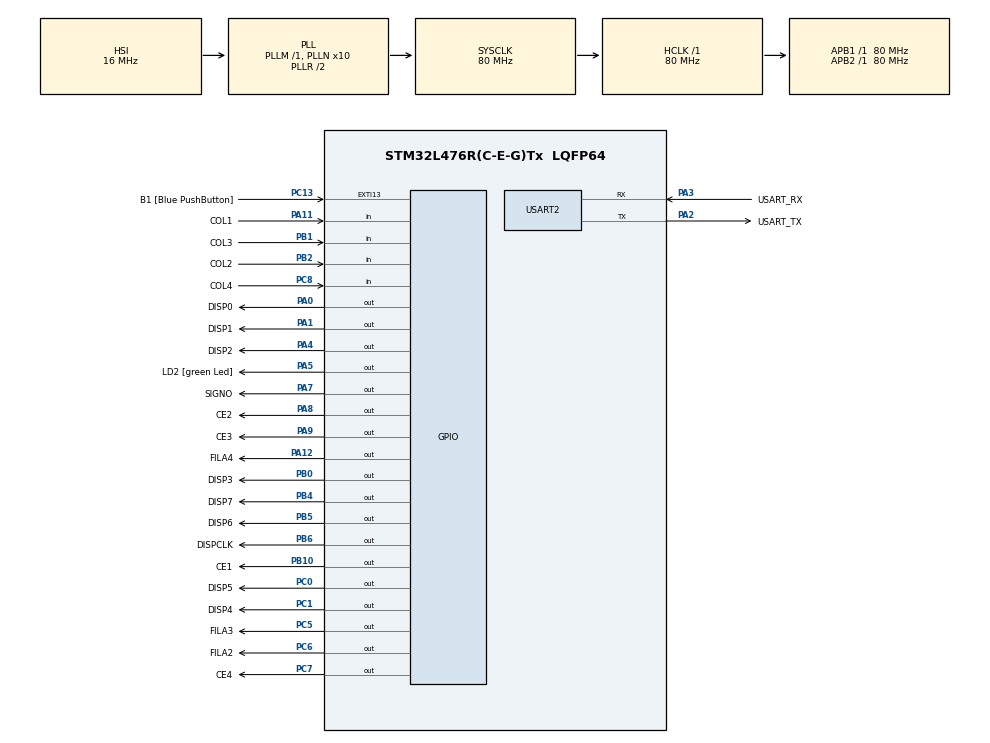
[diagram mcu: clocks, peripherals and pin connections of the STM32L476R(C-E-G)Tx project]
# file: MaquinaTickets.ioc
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Mcu.Family=STM32L4
Mcu.Name=STM32L476R(C-E-G)Tx
Mcu.Package=LQFP64
NVIC.PriorityGroup=NVIC_PRIORITYGROUP_4
PA0.GPIO_Label=DISP0
PA0.Signal=GPIO_Output
PA1.GPIO_Label=DISP1
PA1.Signal=GPIO_Output
PA11.GPIO_Label=COL1
PA11.Signal=GPIO_Input
PA12.GPIO_Label=FILA4
PA12.Signal=GPIO_Output
PA13\ (JTMS-SWDIO).GPIO_Label=TMS
PA13\ (JTMS-SWDIO).Mode=Serial_Wire
PA13\ (JTMS-SWDIO).Signal=SYS_JTMS-SWDIO
PA14\ (JTCK-SWCLK).GPIO_Label=TCK
PA14\ (JTCK-SWCLK).Mode=Serial_Wire
PA14\ (JTCK-SWCLK).Signal=SYS_JTCK-SWCLK
PA2.GPIO_Label=USART_TX
PA2.GPIO_Mode=GPIO_MODE_AF_PP
PA2.GPIO_PuPd=GPIO_NOPULL
PA2.GPIO_Speed=GPIO_SPEED_FREQ_VERY_HIGH
PA2.Mode=Asynchronous
PA2.Signal=USART2_TX
PA3.GPIO_Label=USART_RX
PA3.GPIO_Mode=GPIO_MODE_AF_PP
PA3.GPIO_PuPd=GPIO_NOPULL
PA3.GPIO_Speed=GPIO_SPEED_FREQ_VERY_HIGH
PA3.Mode=Asynchronous
PA3.Signal=USART2_RX
PA4.GPIO_Label=DISP2
PA4.Signal=GPIO_Output
PA5.GPIO_Label=LD2 [green Led]
PA5.GPIO_ModeDefaultOutputPP=GPIO_MODE_OUTPUT_PP
PA5.GPIO_PuPd=GPIO_NOPULL
PA5.GPIO_Speed=GPIO_SPEED_FREQ_LOW
PA5.Signal=GPIO_Output
PA7.GPIO_Label=SIGNO
PA7.Signal=GPIO_Output
PA8.GPIO_Label=CE2
PA8.Signal=GPIO_Output
PA9.GPIO_Label=CE3
PA9.Signal=GPIO_Output
PB0.GPIO_Label=DISP3
PB0.Signal=GPIO_Output
PB1.GPIO_Label=COL3
PB1.Signal=GPIO_Input
PB10.GPIO_Label=CE1
PB10.Signal=GPIO_Output
PB2.GPIO_Label=COL2
PB2.Signal=GPIO_Input
PB3\ (JTDO-TRACESWO).GPIO_Label=SWO
PB3\ (JTDO-TRACESWO).Signal=SYS_JTDO-SWO
PB4\ (NJTRST).GPIO_Label=DISP7
PB4\ (NJTRST).Signal=GPIO_Output
PB5.GPIO_Label=DISP6
PB5.Signal=GPIO_Output
PB6.GPIO_Label=DISPCLK
PB6.Signal=GPIO_Output
PC0.GPIO_Label=DISP5
PC0.Signal=GPIO_Output
PC1.GPIO_Label=DISP4
PC1.Signal=GPIO_Output
PC13.GPIO_Label=B1 [Blue PushButton]
PC13.GPIO_ModeDefaultEXTI=GPIO_MODE_IT_FALLING
PC13.GPIO_PuPd=GPIO_NOPULL
PC13.Signal=GPXTI13
PC14-OSC32_IN\ (PC14).Mode=LSE-External-Oscillator
PC14-OSC32_IN\ (PC14).Signal=RCC_OSC32_IN
PC15-OSC32_OUT\ (PC15).Mode=LSE-External-Oscillator
PC15-OSC32_OUT\ (PC15).Signal=RCC_OSC32_OUT
PC5.GPIO_Label=FILA3
PC5.Signal=GPIO_Output
PC6.GPIO_Label=FILA2
PC6.Signal=GPIO_Output
PC7.GPIO_Label=CE4
PC7.Signal=GPIO_Output
PC8.GPIO_Label=COL4
PC8.Signal=GPIO_Input
PH0-OSC_IN\ (PH0).Signal=RCC_OSC_IN
PH1-OSC_OUT\ (PH1).Signal=RCC_OSC_OUT
ProjectManager.HeapSize=0x200
ProjectManager.StackSize=0x400
ProjectManager.TargetToolchain=STM32CubeIDE
RCC.ADCFreq_Value=64000000
RCC.AHBFreq_Value=80000000
RCC.APB1Freq_Value=80000000
RCC.APB1TimFreq_Value=80000000
RCC.APB2Freq_Value=80000000
RCC.APB2TimFreq_Value=80000000
RCC.CortexFreq_Value=80000000
RCC.HCLKFreq_Value=80000000
RCC.HSE_VALUE=8000000
RCC.HSI_VALUE=16000000
RCC.MSI_VALUE=4000000
RCC.PLLN=10
RCC.PLLSourceVirtual=RCC_PLLSOURCE_HSI
RCC.PREFETCH_ENABLE=1
RCC.SYSCLKFreq_VALUE=80000000
RCC.SYSCLKSource=RCC_SYSCLKSOURCE_PLLCLK
RCC.USBFreq_Value=64000000
RCC.VCOOutputFreq_Value=160000000
USART2.VirtualMode-Asynchronous=VM_ASYNC
board=NUCLEO-L476RG

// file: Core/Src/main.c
/* USER CODE BEGIN Header */
/**
  ******************************************************************************
  * @file           : main.c
  * @brief          : Main program body
  ******************************************************************************
  * @attention
  *
  * Copyright (c) 2023 STMicroelectronics.
  * All rights reserved.
  *
  * This software is licensed under terms that can be found in the LICENSE file
  * in the root directory of this software component.
  * If no LICENSE file comes with this software, it is provided AS-IS.
  *
  ******************************************************************************
  */
/* USER CODE END Header */
#include "main.h"

/* USER CODE BEGIN PD */
#define NUM_FILAS 		4
#define NUM_COLUMNAS 	3
/* USER CODE END PD */

UART_HandleTypeDef huart2;

void SystemClock_Config(void);
static void MX_GPIO_Init(void);
static void MX_USART2_UART_Init(void);
/* USER CODE BEGIN PFP */
static void BCD_inicializarCEx (void);
static void BCD_apagarDisplay (void);
static void BCD_encenderDisplay (int);
static void BCD_enviarDigito (int, int, int, int);
static void BCD_enviarLetra (char, int);

static char Matrix_leerTecla(void);
static void Matrix_inicializarFilas(void);

static int char_to_int(char);
/* USER CODE END PFP */

/* USER CODE BEGIN 0 */

static void Matrix_inicializarFilas (void)
{
	HAL_GPIO_WritePin(FILA2_GPIO_Port, FILA2_Pin, GPIO_PIN_RESET);
	HAL_GPIO_WritePin(FILA3_GPIO_Port, FILA3_Pin, GPIO_PIN_RESET);
	HAL_GPIO_WritePin(FILA4_GPIO_Port, FILA4_Pin, GPIO_PIN_RESET);
}

static int char_to_int (char tecla) {
	return ((int)tecla - (int)'0');
}

static char Matrix_leerTecla (void)
{
	/*
	 * Sistema de sondeo (polling) en el que vamos instroduciendo 1 lógico por fila
	 * y leyendo al mismo tiempo cada columna. Según la combinación de fila y columna
	 * se ha pulsado la tecla correspondiente.
	 */

	/* Comenzamos inicializando las columnas a 0 por si guardan algún valor */
	for (int fila = 4; fila > 1; fila--) {
		/* Activamos 1 fila en cada bucle */
		HAL_GPIO_WritePin(FILA4_GPIO_Port, FILA4_Pin, (fila == 4));

		HAL_GPIO_WritePin(FILA3_GPIO_Port, FILA3_Pin, (fila == 3));

		HAL_GPIO_WritePin(FILA2_GPIO_Port, FILA2_Pin, (fila == 2));

		/* Leemos columnas */
		if (fila == 4 && HAL_GPIO_ReadPin(COL1_GPIO_Port, COL1_Pin)) {
			Matrix_inicializarFilas();
			return 'A';
		} else if (fila == 4 && HAL_GPIO_ReadPin(COL2_GPIO_Port, COL2_Pin)) {
			Matrix_inicializarFilas();
			return '7';
		} else if (fila == 4 && HAL_GPIO_ReadPin(COL3_GPIO_Port, COL3_Pin)) {
			Matrix_inicializarFilas();
			return '4';
		} else if (fila == 4 && HAL_GPIO_ReadPin(COL4_GPIO_Port, COL4_Pin)) {
			Matrix_inicializarFilas();
			return '1';
		}

		if (fila == 3 && HAL_GPIO_ReadPin(COL1_GPIO_Port, COL1_Pin)) {
			Matrix_inicializarFilas();
			return '0';
		} else if (fila == 3 && HAL_GPIO_ReadPin(COL2_GPIO_Port, COL2_Pin)) {
			Matrix_inicializarFilas();
			return '8';
		} else if (fila == 3 && HAL_GPIO_ReadPin(COL3_GPIO_Port, COL3_Pin)) {
			Matrix_inicializarFilas();
			return '5';
		} else if (fila == 3 && HAL_GPIO_ReadPin(COL4_GPIO_Port, COL4_Pin)) {
			Matrix_inicializarFilas();
			return '2';
		}

		if (fila == 2 && HAL_GPIO_ReadPin(COL1_GPIO_Port, COL1_Pin)) {
			Matrix_inicializarFilas();
			return 'B';
		} else if (fila == 2 && HAL_GPIO_ReadPin(COL2_GPIO_Port, COL2_Pin)) {
			Matrix_inicializarFilas();
			return '9';
		} else if (fila == 2 && HAL_GPIO_ReadPin(COL3_GPIO_Port, COL3_Pin)) {
			Matrix_inicializarFilas();
			return '6';
		} else if (fila == 2 && HAL_GPIO_ReadPin(COL4_GPIO_Port, COL4_Pin)) {
			Matrix_inicializarFilas();
			return '3';
		}

		/* Volvemos a la fila inicial */
		if (fila == 2) {
			fila = 5;
		}
	}

	return 0;

}

static void BCD_inicializarCEx (void)
{
	HAL_GPIO_WritePin(CE1_GPIO_Port, CE1_Pin, GPIO_PIN_SET);
	HAL_GPIO_WritePin(CE2_GPIO_Port, CE2_Pin, GPIO_PIN_SET);
	HAL_GPIO_WritePin(CE3_GPIO_Port, CE3_Pin, GPIO_PIN_SET);
	HAL_GPIO_WritePin(CE4_GPIO_Port, CE4_Pin, GPIO_PIN_SET);

//	HAL_GPIO_WritePin(DISPCLK_GPIO_Port, DISPCLK_Pin, GPIO_PIN_RESET);
//	HAL_Delay(50);
//	HAL_GPIO_WritePin(DISPCLK_GPIO_Port, DISPCLK_Pin, GPIO_PIN_SET);
//	HAL_Delay(50);
}

/*
 * TURN OFF DISPLAY X FUNCTION
 * display: display a apagar
 */

static void BCD_apagarDisplay (void)
{
	HAL_GPIO_WritePin(DISP0_GPIO_Port, DISP0_Pin, GPIO_PIN_RESET);
	HAL_GPIO_WritePin(DISP1_GPIO_Port, DISP1_Pin, GPIO_PIN_RESET);
	HAL_GPIO_WritePin(DISP2_GPIO_Port, DISP2_Pin, GPIO_PIN_RESET);
	HAL_GPIO_WritePin(DISP3_GPIO_Port, DISP3_Pin, GPIO_PIN_RESET);
	HAL_GPIO_WritePin(DISP4_GPIO_Port, DISP4_Pin, GPIO_PIN_RESET);
	HAL_GPIO_WritePin(DISP5_GPIO_Port, DISP5_Pin, GPIO_PIN_RESET);
	HAL_GPIO_WritePin(DISP6_GPIO_Port, DISP6_Pin, GPIO_PIN_RESET);
	HAL_GPIO_WritePin(DISP7_GPIO_Port, DISP7_Pin, GPIO_PIN_RESET);
	HAL_GPIO_WritePin(SIGNO_GPIO_Port, SIGNO_Pin, GPIO_PIN_RESET);

	/* Habilitamos todos los CEx */
	HAL_GPIO_WritePin(CE1_GPIO_Port, CE1_Pin, GPIO_PIN_RESET);
	HAL_GPIO_WritePin(CE2_GPIO_Port, CE2_Pin, GPIO_PIN_RESET);
	HAL_GPIO_WritePin(CE3_GPIO_Port, CE3_Pin, GPIO_PIN_RESET);
	HAL_GPIO_WritePin(CE4_GPIO_Port, CE4_Pin, GPIO_PIN_RESET);

	/* Volvemos a deshabilitar los CEx */
	HAL_GPIO_WritePin(CE1_GPIO_Port, CE1_Pin, GPIO_PIN_SET);
	HAL_GPIO_WritePin(CE2_GPIO_Port, CE2_Pin, GPIO_PIN_SET);
	HAL_GPIO_WritePin(CE3_GPIO_Port, CE3_Pin, GPIO_PIN_SET);
	HAL_GPIO_WritePin(CE4_GPIO_Port, CE4_Pin, GPIO_PIN_SET);

	// DA ERROR EN HAL_Delay (??)
//	HAL_GPIO_WritePin(DISPCLK_GPIO_Port, DISPCLK_Pin, GPIO_PIN_RESET);
//	HAL_Delay(50);
//	HAL_GPIO_WritePin(DISPCLK_GPIO_Port, DISPCLK_Pin, GPIO_PIN_SET);
//	HAL_Delay(50);

}

static void BCD_encenderDisplay (int display)
{
	switch(display) {
	case 1:
		HAL_GPIO_WritePin(CE1_GPIO_Port, CE1_Pin, GPIO_PIN_SET);
		break;
	case 2:
		HAL_GPIO_WritePin(CE2_GPIO_Port, CE2_Pin, GPIO_PIN_SET);
		break;
	case 3:
		HAL_GPIO_WritePin(CE3_GPIO_Port, CE3_Pin, GPIO_PIN_SET);
		break;
	case 4:
		HAL_GPIO_WritePin(CE4_GPIO_Port, CE4_Pin, GPIO_PIN_SET);
		break;
	default:
		break;
	}
}

/*
 * SEND BYTE ON DISPLAY FUNCTION
 * character: caracter a mostrar
 * display: display en el que mostrar el caracter
 * punto: indica si se enciende o no el punto
 * signo: indica si se enciende o no el signo
 */

static void BCD_enviarDigito (int character, int display, int punto, int signo)
{

	switch (character) {
	case 0:
		HAL_GPIO_WritePin(DISP0_GPIO_Port, DISP0_Pin, GPIO_PIN_SET);
		HAL_GPIO_WritePin(DISP1_GPIO_Port, DISP1_Pin, GPIO_PIN_SET);
		HAL_GPIO_WritePin(DISP2_GPIO_Port, DISP2_Pin, GPIO_PIN_SET);
		HAL_GPIO_WritePin(DISP3_GPIO_Port, DISP3_Pin, GPIO_PIN_SET);
		HAL_GPIO_WritePin(DISP4_GPIO_Port, DISP4_Pin, GPIO_PIN_SET);
		HAL_GPIO_WritePin(DISP5_GPIO_Port, DISP5_Pin, GPIO_PIN_SET);
		HAL_GPIO_WritePin(DISP6_GPIO_Port, DISP6_Pin, GPIO_PIN_RESET);
		HAL_GPIO_WritePin(DISP7_GPIO_Port, DISP7_Pin, GPIO_PIN_RESET);
		break;
	case 1:
		HAL_GPIO_WritePin(DISP0_GPIO_Port, DISP0_Pin, GPIO_PIN_RESET);
		HAL_GPIO_WritePin(DISP1_GPIO_Port, DISP1_Pin, GPIO_PIN_SET);
		HAL_GPIO_WritePin(DISP2_GPIO_Port, DISP2_Pin, GPIO_PIN_SET);
		HAL_GPIO_WritePin(DISP3_GPIO_Port, DISP3_Pin, GPIO_PIN_RESET);
		HAL_GPIO_WritePin(DISP4_GPIO_Port, DISP4_Pin, GPIO_PIN_RESET);
		HAL_GPIO_WritePin(DISP5_GPIO_Port, DISP5_Pin, GPIO_PIN_RESET);
		HAL_GPIO_WritePin(DISP6_GPIO_Port, DISP6_Pin, GPIO_PIN_RESET);
		HAL_GPIO_WritePin(DISP7_GPIO_Port, DISP7_Pin, GPIO_PIN_RESET);
		break;
	case 2:
		HAL_GPIO_WritePin(DISP0_GPIO_Port, DISP0_Pin, GPIO_PIN_SET);
		HAL_GPIO_WritePin(DISP1_GPIO_Port, DISP1_Pin, GPIO_PIN_SET);
		HAL_GPIO_WritePin(DISP2_GPIO_Port, DISP2_Pin, GPIO_PIN_RESET);
		HAL_GPIO_WritePin(DISP3_GPIO_Port, DISP3_Pin, GPIO_PIN_SET);
		HAL_GPIO_WritePin(DISP4_GPIO_Port, DISP4_Pin, GPIO_PIN_SET);
		HAL_GPIO_WritePin(DISP5_GPIO_Port, DISP5_Pin, GPIO_PIN_RESET);
		HAL_GPIO_WritePin(DISP6_GPIO_Port, DISP6_Pin, GPIO_PIN_SET);
		HAL_GPIO_WritePin(DISP7_GPIO_Port, DISP7_Pin, GPIO_PIN_RESET);
		break;
	case 3:
		HAL_GPIO_WritePin(DISP0_GPIO_Port, DISP0_Pin, GPIO_PIN_SET);
		HAL_GPIO_WritePin(DISP1_GPIO_Port, DISP1_Pin, GPIO_PIN_SET);
		HAL_GPIO_WritePin(DISP2_GPIO_Port, DISP2_Pin, GPIO_PIN_SET);
		HAL_GPIO_WritePin(DISP3_GPIO_Port, DISP3_Pin, GPIO_PIN_SET);
		HAL_GPIO_WritePin(DISP4_GPIO_Port, DISP4_Pin, GPIO_PIN_RESET);
		HAL_GPIO_WritePin(DISP5_GPIO_Port, DISP5_Pin, GPIO_PIN_RESET);
		HAL_GPIO_WritePin(DISP6_GPIO_Port, DISP6_Pin, GPIO_PIN_SET);
		HAL_GPIO_WritePin(DISP7_GPIO_Port, DISP7_Pin, GPIO_PIN_RESET);
		break;
	case 4:
		HAL_GPIO_WritePin(DISP0_GPIO_Port, DISP0_Pin, GPIO_PIN_RESET);
		HAL_GPIO_WritePin(DISP1_GPIO_Port, DISP1_Pin, GPIO_PIN_SET);
		HAL_GPIO_WritePin(DISP2_GPIO_Port, DISP2_Pin, GPIO_PIN_SET);
		HAL_GPIO_WritePin(DISP3_GPIO_Port, DISP3_Pin, GPIO_PIN_RESET);
		HAL_GPIO_WritePin(DISP4_GPIO_Port, DISP4_Pin, GPIO_PIN_RESET);
		HAL_GPIO_WritePin(DISP5_GPIO_Port, DISP5_Pin, GPIO_PIN_SET);
		HAL_GPIO_WritePin(DISP6_GPIO_Port, DISP6_Pin, GPIO_PIN_SET);
		HAL_GPIO_WritePin(DISP7_GPIO_Port, DISP7_Pin, GPIO_PIN_RESET);
		break;
	case 5:
		HAL_GPIO_WritePin(DISP0_GPIO_Port, DISP0_Pin, GPIO_PIN_SET);
		HAL_GPIO_WritePin(DISP1_GPIO_Port, DISP1_Pin, GPIO_PIN_RESET);
		HAL_GPIO_WritePin(DISP2_GPIO_Port, DISP2_Pin, GPIO_PIN_SET);
		HAL_GPIO_WritePin(DISP3_GPIO_Port, DISP3_Pin, GPIO_PIN_SET);
		HAL_GPIO_WritePin(DISP4_GPIO_Port, DISP4_Pin, GPIO_PIN_RESET);
		HAL_GPIO_WritePin(DISP5_GPIO_Port, DISP5_Pin, GPIO_PIN_SET);
		HAL_GPIO_WritePin(DISP6_GPIO_Port, DISP6_Pin, GPIO_PIN_SET);
		HAL_GPIO_WritePin(DISP7_GPIO_Port, DISP7_Pin, GPIO_PIN_RESET);
		break;
	case 6:
		HAL_GPIO_WritePin(DISP0_GPIO_Port, DISP0_Pin, GPIO_PIN_SET);
		HAL_GPIO_WritePin(DISP1_GPIO_Port, DISP1_Pin, GPIO_PIN_RESET);
		HAL_GPIO_WritePin(DISP2_GPIO_Port, DISP2_Pin, GPIO_PIN_SET);
		HAL_GPIO_WritePin(DISP3_GPIO_Port, DISP3_Pin, GPIO_PIN_SET);
		HAL_GPIO_WritePin(DISP4_GPIO_Port, DISP4_Pin, GPIO_PIN_SET);
		HAL_GPIO_WritePin(DISP5_GPIO_Port, DISP5_Pin, GPIO_PIN_SET);
		HAL_GPIO_WritePin(DISP6_GPIO_Port, DISP6_Pin, GPIO_PIN_SET);
		HAL_GPIO_WritePin(DISP7_GPIO_Port, DISP7_Pin, GPIO_PIN_RESET);
		break;
	case 7:
		HAL_GPIO_WritePin(DISP0_GPIO_Port, DISP0_Pin, GPIO_PIN_SET);
		HAL_GPIO_WritePin(DISP1_GPIO_Port, DISP1_Pin, GPIO_PIN_SET);
		HAL_GPIO_WritePin(DISP2_GPIO_Port, DISP2_Pin, GPIO_PIN_SET);
		HAL_GPIO_WritePin(DISP3_GPIO_Port, DISP3_Pin, GPIO_PIN_RESET);
		HAL_GPIO_WritePin(DISP4_GPIO_Port, DISP4_Pin, GPIO_PIN_RESET);
		HAL_GPIO_WritePin(DISP5_GPIO_Port, DISP5_Pin, GPIO_PIN_RESET);
		HAL_GPIO_WritePin(DISP6_GPIO_Port, DISP6_Pin, GPIO_PIN_RESET);
		HAL_GPIO_WritePin(DISP7_GPIO_Port, DISP7_Pin, GPIO_PIN_RESET);
		break;
	case 8:
		HAL_GPIO_WritePin(DISP0_GPIO_Port, DISP0_Pin, GPIO_PIN_SET);
		HAL_GPIO_WritePin(DISP1_GPIO_Port, DISP1_Pin, GPIO_PIN_SET);
		HAL_GPIO_WritePin(DISP2_GPIO_Port, DISP2_Pin, GPIO_PIN_SET);
		HAL_GPIO_WritePin(DISP3_GPIO_Port, DISP3_Pin, GPIO_PIN_SET);
		HAL_GPIO_WritePin(DISP4_GPIO_Port, DISP4_Pin, GPIO_PIN_SET);
		HAL_GPIO_WritePin(DISP5_GPIO_Port, DISP5_Pin, GPIO_PIN_SET);
		HAL_GPIO_WritePin(DISP6_GPIO_Port, DISP6_Pin, GPIO_PIN_SET);
		HAL_GPIO_WritePin(DISP7_GPIO_Port, DISP7_Pin, GPIO_PIN_RESET);
		break;
	case 9:
		HAL_GPIO_WritePin(DISP0_GPIO_Port, DISP0_Pin, GPIO_PIN_SET);
		HAL_GPIO_WritePin(DISP1_GPIO_Port, DISP1_Pin, GPIO_PIN_SET);
		HAL_GPIO_WritePin(DISP2_GPIO_Port, DISP2_Pin, GPIO_PIN_SET);
		HAL_GPIO_WritePin(DISP3_GPIO_Port, DISP3_Pin, GPIO_PIN_RESET);
		HAL_GPIO_WritePin(DISP4_GPIO_Port, DISP4_Pin, GPIO_PIN_RESET);
		HAL_GPIO_WritePin(DISP5_GPIO_Port, DISP5_Pin, GPIO_PIN_SET);
		HAL_GPIO_WritePin(DISP6_GPIO_Port, DISP6_Pin, GPIO_PIN_SET);
		HAL_GPIO_WritePin(DISP7_GPIO_Port, DISP7_Pin, GPIO_PIN_RESET);
		break;
	default:
		HAL_GPIO_WritePin(DISP0_GPIO_Port, DISP0_Pin, GPIO_PIN_RESET);
		HAL_GPIO_WritePin(DISP1_GPIO_Port, DISP1_Pin, GPIO_PIN_RESET);
		HAL_GPIO_WritePin(DISP2_GPIO_Port, DISP2_Pin, GPIO_PIN_RESET);
		HAL_GPIO_WritePin(DISP3_GPIO_Port, DISP3_Pin, GPIO_PIN_RESET);
		HAL_GPIO_WritePin(DISP4_GPIO_Port, DISP4_Pin, GPIO_PIN_RESET);
		HAL_GPIO_WritePin(DISP5_GPIO_Port, DISP5_Pin, GPIO_PIN_RESET);
		HAL_GPIO_WritePin(DISP6_GPIO_Port, DISP6_Pin, GPIO_PIN_RESET);
		HAL_GPIO_WritePin(DISP7_GPIO_Port, DISP7_Pin, GPIO_PIN_RESET);
		break;
	}

	if (signo) {
		HAL_GPIO_WritePin(SIGNO_GPIO_Port, SIGNO_Pin, GPIO_PIN_SET);
	}

	if (display == 1) {
		HAL_GPIO_WritePin(CE1_GPIO_Port, CE1_Pin, GPIO_PIN_RESET);
		// HAL_GPIO_WritePin(CE2_GPIO_Port, CE2_Pin, GPIO_PIN_SET);
		// HAL_GPIO_WritePin(CE3_GPIO_Port, CE3_Pin, GPIO_PIN_SET);
		// HAL_GPIO_WritePin(CE4_GPIO_Port, CE4_Pin, GPIO_PIN_SET);

		HAL_GPIO_WritePin(DISPCLK_GPIO_Port, DISPCLK_Pin, GPIO_PIN_RESET);
		HAL_Delay(10);
		HAL_GPIO_WritePin(DISPCLK_GPIO_Port, DISPCLK_Pin, GPIO_PIN_SET);
		HAL_Delay(10);

		HAL_GPIO_WritePin(CE1_GPIO_Port, CE1_Pin, GPIO_PIN_SET);

//		BCD_apagarDisplay();
//
//		HAL_GPIO_WritePin(DISPCLK_GPIO_Port, DISPCLK_Pin, GPIO_PIN_RESET);
//		HAL_Delay(10);
//		HAL_GPIO_WritePin(DISPCLK_GPIO_Port, DISPCLK_Pin, GPIO_PIN_SET);
//		HAL_Delay(10);

	} else if (display == 2) {
		// HAL_GPIO_WritePin(CE1_GPIO_Port, CE1_Pin, GPIO_PIN_SET);
		HAL_GPIO_WritePin(CE2_GPIO_Port, CE2_Pin, GPIO_PIN_RESET);
		// HAL_GPIO_WritePin(CE3_GPIO_Port, CE3_Pin, GPIO_PIN_SET);
		// HAL_GPIO_WritePin(CE4_GPIO_Port, CE4_Pin, GPIO_PIN_SET);

		HAL_GPIO_WritePin(DISPCLK_GPIO_Port, DISPCLK_Pin, GPIO_PIN_RESET);
		HAL_Delay(10);
		HAL_GPIO_WritePin(DISPCLK_GPIO_Port, DISPCLK_Pin, GPIO_PIN_SET);
		HAL_Delay(10);

		HAL_GPIO_WritePin(CE2_GPIO_Port, CE2_Pin, GPIO_PIN_SET);

//		BCD_apagarDisplay();
//
//		HAL_GPIO_WritePin(DISPCLK_GPIO_Port, DISPCLK_Pin, GPIO_PIN_RESET);
//		HAL_Delay(10);
//		HAL_GPIO_WritePin(DISPCLK_GPIO_Port, DISPCLK_Pin, GPIO_PIN_SET);
//		HAL_Delay(10);

	} else if (display == 3) {

		if (punto) {
			HAL_GPIO_WritePin(DISP7_GPIO_Port, DISP7_Pin, GPIO_PIN_SET);
		}

		// HAL_GPIO_WritePin(CE1_GPIO_Port, CE1_Pin, GPIO_PIN_SET);
		// HAL_GPIO_WritePin(CE2_GPIO_Port, CE2_Pin, GPIO_PIN_SET);
		HAL_GPIO_WritePin(CE3_GPIO_Port, CE3_Pin, GPIO_PIN_RESET);
		// HAL_GPIO_WritePin(CE4_GPIO_Port, CE4_Pin, GPIO_PIN_SET);

		HAL_GPIO_WritePin(DISPCLK_GPIO_Port, DISPCLK_Pin, GPIO_PIN_RESET);
		HAL_Delay(10);
		HAL_GPIO_WritePin(DISPCLK_GPIO_Port, DISPCLK_Pin, GPIO_PIN_SET);
		HAL_Delay(10);

		HAL_GPIO_WritePin(CE3_GPIO_Port, CE3_Pin, GPIO_PIN_SET);

//		BCD_apagarDisplay();
//
//		HAL_GPIO_WritePin(DISPCLK_GPIO_Port, DISPCLK_Pin, GPIO_PIN_RESET);
//		HAL_Delay(10);
//		HAL_GPIO_WritePin(DISPCLK_GPIO_Port, DISPCLK_Pin, GPIO_PIN_SET);
//		HAL_Delay(10);

	} else if (display == 4) {
		// HAL_GPIO_WritePin(CE1_GPIO_Port, CE1_Pin, GPIO_PIN_SET);
		// HAL_GPIO_WritePin(CE2_GPIO_Port, CE2_Pin, GPIO_PIN_SET);
		// HAL_GPIO_WritePin(CE3_GPIO_Port, CE3_Pin, GPIO_PIN_SET);
		HAL_GPIO_WritePin(CE4_GPIO_Port, CE4_Pin, GPIO_PIN_RESET);

		HAL_GPIO_WritePin(DISPCLK_GPIO_Port, DISPCLK_Pin, GPIO_PIN_RESET);
		HAL_Delay(10);
		HAL_GPIO_WritePin(DISPCLK_GPIO_Port, DISPCLK_Pin, GPIO_PIN_SET);
		HAL_Delay(10);

		HAL_GPIO_WritePin(CE4_GPIO_Port, CE4_Pin, GPIO_PIN_SET);

//		BCD_apagarDisplay();
//
//		HAL_GPIO_WritePin(DISPCLK_GPIO_Port, DISPCLK_Pin, GPIO_PIN_RESET);
//		HAL_Delay(10);
//		HAL_GPIO_WritePin(DISPCLK_GPIO_Port, DISPCLK_Pin, GPIO_PIN_SET);
//		HAL_Delay(10);

	}
}

static void BCD_enviarLetra (char character, int display)
{
	switch (character) {
	case'0':
		HAL_GPIO_WritePin(DISP0_GPIO_Port, DISP0_Pin, GPIO_PIN_RESET);
		HAL_GPIO_WritePin(DISP1_GPIO_Port, DISP1_Pin, GPIO_PIN_RESET);
		HAL_GPIO_WritePin(DISP2_GPIO_Port, DISP2_Pin, GPIO_PIN_RESET);
		HAL_GPIO_WritePin(DISP3_GPIO_Port, DISP3_Pin, GPIO_PIN_RESET);
		HAL_GPIO_WritePin(DISP4_GPIO_Port, DISP4_Pin, GPIO_PIN_RESET);
		HAL_GPIO_WritePin(DISP5_GPIO_Port, DISP5_Pin, GPIO_PIN_RESET);
		HAL_GPIO_WritePin(DISP6_GPIO_Port, DISP6_Pin, GPIO_PIN_RESET);
		HAL_GPIO_WritePin(DISP7_GPIO_Port, DISP7_Pin, GPIO_PIN_RESET);
		break;
	case 'Z':
		HAL_GPIO_WritePin(DISP0_GPIO_Port, DISP0_Pin, GPIO_PIN_SET);
		HAL_GPIO_WritePin(DISP1_GPIO_Port, DISP1_Pin, GPIO_PIN_SET);
		HAL_GPIO_WritePin(DISP2_GPIO_Port, DISP2_Pin, GPIO_PIN_RESET);
		HAL_GPIO_WritePin(DISP3_GPIO_Port, DISP3_Pin, GPIO_PIN_SET);
		HAL_GPIO_WritePin(DISP4_GPIO_Port, DISP4_Pin, GPIO_PIN_SET);
		HAL_GPIO_WritePin(DISP5_GPIO_Port, DISP5_Pin, GPIO_PIN_RESET);
		HAL_GPIO_WritePin(DISP6_GPIO_Port, DISP6_Pin, GPIO_PIN_SET);
		HAL_GPIO_WritePin(DISP7_GPIO_Port, DISP7_Pin, GPIO_PIN_RESET);
		break;
	case 'U':
		HAL_GPIO_WritePin(DISP0_GPIO_Port, DISP0_Pin, GPIO_PIN_RESET);
		HAL_GPIO_WritePin(DISP1_GPIO_Port, DISP1_Pin, GPIO_PIN_SET);
		HAL_GPIO_WritePin(DISP2_GPIO_Port, DISP2_Pin, GPIO_PIN_SET);
		HAL_GPIO_WritePin(DISP3_GPIO_Port, DISP3_Pin, GPIO_PIN_SET);
		HAL_GPIO_WritePin(DISP4_GPIO_Port, DISP4_Pin, GPIO_PIN_SET);
		HAL_GPIO_WritePin(DISP5_GPIO_Port, DISP5_Pin, GPIO_PIN_SET);
		HAL_GPIO_WritePin(DISP6_GPIO_Port, DISP6_Pin, GPIO_PIN_RESET);
		HAL_GPIO_WritePin(DISP7_GPIO_Port, DISP7_Pin, GPIO_PIN_RESET);
		break;
	case 'M':
		HAL_GPIO_WritePin(DISP0_GPIO_Port, DISP0_Pin, GPIO_PIN_SET);
		HAL_GPIO_WritePin(DISP1_GPIO_Port, DISP1_Pin, GPIO_PIN_SET);
		HAL_GPIO_WritePin(DISP2_GPIO_Port, DISP2_Pin, GPIO_PIN_SET);
		HAL_GPIO_WritePin(DISP3_GPIO_Port, DISP3_Pin, GPIO_PIN_RESET);
		HAL_GPIO_WritePin(DISP4_GPIO_Port, DISP4_Pin, GPIO_PIN_SET);
		HAL_GPIO_WritePin(DISP5_GPIO_Port, DISP5_Pin, GPIO_PIN_SET);
		HAL_GPIO_WritePin(DISP6_GPIO_Port, DISP6_Pin, GPIO_PIN_RESET);
		HAL_GPIO_WritePin(DISP7_GPIO_Port, DISP7_Pin, GPIO_PIN_RESET);
		break;
	case 'O':
		HAL_GPIO_WritePin(DISP0_GPIO_Port, DISP0_Pin, GPIO_PIN_SET);
		HAL_GPIO_WritePin(DISP1_GPIO_Port, DISP1_Pin, GPIO_PIN_SET);
		HAL_GPIO_WritePin(DISP2_GPIO_Port, DISP2_Pin, GPIO_PIN_SET);
		HAL_GPIO_WritePin(DISP3_GPIO_Port, DISP3_Pin, GPIO_PIN_SET);
		HAL_GPIO_WritePin(DISP4_GPIO_Port, DISP4_Pin, GPIO_PIN_SET);
		HAL_GPIO_WritePin(DISP5_GPIO_Port, DISP5_Pin, GPIO_PIN_SET);
		HAL_GPIO_WritePin(DISP6_GPIO_Port, DISP6_Pin, GPIO_PIN_RESET);
		HAL_GPIO_WritePin(DISP7_GPIO_Port, DISP7_Pin, GPIO_PIN_RESET);
		break;
	case 'C':
		HAL_GPIO_WritePin(DISP0_GPIO_Port, DISP0_Pin, GPIO_PIN_SET);
		HAL_GPIO_WritePin(DISP1_GPIO_Port, DISP1_Pin, GPIO_PIN_RESET);
		HAL_GPIO_WritePin(DISP2_GPIO_Port, DISP2_Pin, GPIO_PIN_RESET);
		HAL_GPIO_WritePin(DISP3_GPIO_Port, DISP3_Pin, GPIO_PIN_SET);
		HAL_GPIO_WritePin(DISP4_GPIO_Port, DISP4_Pin, GPIO_PIN_SET);
		HAL_GPIO_WritePin(DISP5_GPIO_Port, DISP5_Pin, GPIO_PIN_SET);
		HAL_GPIO_WritePin(DISP6_GPIO_Port, DISP6_Pin, GPIO_PIN_RESET);
		HAL_GPIO_WritePin(DISP7_GPIO_Port, DISP7_Pin, GPIO_PIN_RESET);
		break;
	case 'L':
		HAL_GPIO_WritePin(DISP0_GPIO_Port, DISP0_Pin, GPIO_PIN_RESET);
		HAL_GPIO_WritePin(DISP1_GPIO_Port, DISP1_Pin, GPIO_PIN_RESET);
		HAL_GPIO_WritePin(DISP2_GPIO_Port, DISP2_Pin, GPIO_PIN_RESET);
		HAL_GPIO_WritePin(DISP3_GPIO_Port, DISP3_Pin, GPIO_PIN_SET);
		HAL_GPIO_WritePin(DISP4_GPIO_Port, DISP4_Pin, GPIO_PIN_SET);
		HAL_GPIO_WritePin(DISP5_GPIO_Port, DISP5_Pin, GPIO_PIN_SET);
		HAL_GPIO_WritePin(DISP6_GPIO_Port, DISP6_Pin, GPIO_PIN_RESET);
		HAL_GPIO_WritePin(DISP7_GPIO_Port, DISP7_Pin, GPIO_PIN_RESET);
		break;
	case 'A':
		HAL_GPIO_WritePin(DISP0_GPIO_Port, DISP0_Pin, GPIO_PIN_SET);
		HAL_GPIO_WritePin(DISP1_GPIO_Port, DISP1_Pin, GPIO_PIN_SET);
		HAL_GPIO_WritePin(DISP2_GPIO_Port, DISP2_Pin, GPIO_PIN_SET);
		HAL_GPIO_WritePin(DISP3_GPIO_Port, DISP3_Pin, GPIO_PIN_RESET);
		HAL_GPIO_WritePin(DISP4_GPIO_Port, DISP4_Pin, GPIO_PIN_SET);
		HAL_GPIO_WritePin(DISP5_GPIO_Port, DISP5_Pin, GPIO_PIN_SET);
		HAL_GPIO_WritePin(DISP6_GPIO_Port, DISP6_Pin, GPIO_PIN_SET);
		HAL_GPIO_WritePin(DISP7_GPIO_Port, DISP7_Pin, GPIO_PIN_RESET);
		break;
	case 'T':
		HAL_GPIO_WritePin(DISP0_GPIO_Port, DISP0_Pin, GPIO_PIN_RESET);
		HAL_GPIO_WritePin(DISP1_GPIO_Port, DISP1_Pin, GPIO_PIN_RESET);
		HAL_GPIO_WritePin(DISP2_GPIO_Port, DISP2_Pin, GPIO_PIN_RESET);
		HAL_GPIO_WritePin(DISP3_GPIO_Port, DISP3_Pin, GPIO_PIN_SET);
		HAL_GPIO_WritePin(DISP4_GPIO_Port, DISP4_Pin, GPIO_PIN_SET);
		HAL_GPIO_WritePin(DISP5_GPIO_Port, DISP5_Pin, GPIO_PIN_SET);
		HAL_GPIO_WritePin(DISP6_GPIO_Port, DISP6_Pin, GPIO_PIN_SET);
		HAL_GPIO_WritePin(DISP7_GPIO_Port, DISP7_Pin, GPIO_PIN_RESET);
		break;
	case 'E':
		HAL_GPIO_WritePin(DISP0_GPIO_Port, DISP0_Pin, GPIO_PIN_SET);
		HAL_GPIO_WritePin(DISP1_GPIO_Port, DISP1_Pin, GPIO_PIN_RESET);
		HAL_GPIO_WritePin(DISP2_GPIO_Port, DISP2_Pin, GPIO_PIN_RESET);
		HAL_GPIO_WritePin(DISP3_GPIO_Port, DISP3_Pin, GPIO_PIN_SET);
		HAL_GPIO_WritePin(DISP4_GPIO_Port, DISP4_Pin, GPIO_PIN_SET);
		HAL_GPIO_WritePin(DISP5_GPIO_Port, DISP5_Pin, GPIO_PIN_SET);
		HAL_GPIO_WritePin(DISP6_GPIO_Port, DISP6_Pin, GPIO_PIN_SET);
		HAL_GPIO_WritePin(DISP7_GPIO_Port, DISP7_Pin, GPIO_PIN_RESET);
		break;
	case 'H':
		HAL_GPIO_WritePin(DISP0_GPIO_Port, DISP0_Pin, GPIO_PIN_RESET);
		HAL_GPIO_WritePin(DISP1_GPIO_Port, DISP1_Pin, GPIO_PIN_SET);
		HAL_GPIO_WritePin(DISP2_GPIO_Port, DISP2_Pin, GPIO_PIN_SET);
		HAL_GPIO_WritePin(DISP3_GPIO_Port, DISP3_Pin, GPIO_PIN_RESET);
		HAL_GPIO_WritePin(DISP4_GPIO_Port, DISP4_Pin, GPIO_PIN_SET);
		HAL_GPIO_WritePin(DISP5_GPIO_Port, DISP5_Pin, GPIO_PIN_SET);
		HAL_GPIO_WritePin(DISP6_GPIO_Port, DISP6_Pin, GPIO_PIN_SET);
		HAL_GPIO_WritePin(DISP7_GPIO_Port, DISP7_Pin, GPIO_PIN_RESET);
		break;
	default:
		HAL_GPIO_WritePin(DISP0_GPIO_Port, DISP0_Pin, GPIO_PIN_RESET);
		HAL_GPIO_WritePin(DISP1_GPIO_Port, DISP1_Pin, GPIO_PIN_RESET);
		HAL_GPIO_WritePin(DISP2_GPIO_Port, DISP2_Pin, GPIO_PIN_RESET);
		HAL_GPIO_WritePin(DISP3_GPIO_Port, DISP3_Pin, GPIO_PIN_RESET);
		HAL_GPIO_WritePin(DISP4_GPIO_Port, DISP4_Pin, GPIO_PIN_RESET);
		HAL_GPIO_WritePin(DISP5_GPIO_Port, DISP5_Pin, GPIO_PIN_RESET);
		HAL_GPIO_WritePin(DISP6_GPIO_Port, DISP6_Pin, GPIO_PIN_RESET);
		HAL_GPIO_WritePin(DISP7_GPIO_Port, DISP7_Pin, GPIO_PIN_RESET);
		break;
	}

	if (display == 1) {
		HAL_GPIO_WritePin(CE1_GPIO_Port, CE1_Pin, GPIO_PIN_RESET);
		// HAL_GPIO_WritePin(CE2_GPIO_Port, CE2_Pin, GPIO_PIN_SET);
		// HAL_GPIO_WritePin(CE3_GPIO_Port, CE3_Pin, GPIO_PIN_SET);
		// HAL_GPIO_WritePin(CE4_GPIO_Port, CE4_Pin, GPIO_PIN_SET);

		HAL_GPIO_WritePin(DISPCLK_GPIO_Port, DISPCLK_Pin, GPIO_PIN_RESET);
		HAL_Delay(10);
		HAL_GPIO_WritePin(DISPCLK_GPIO_Port, DISPCLK_Pin, GPIO_PIN_SET);
		HAL_Delay(10);

		HAL_GPIO_WritePin(CE1_GPIO_Port, CE1_Pin, GPIO_PIN_SET);

//		BCD_apagarDisplay();
//
//		HAL_GPIO_WritePin(DISPCLK_GPIO_Port, DISPCLK_Pin, GPIO_PIN_RESET);
//		HAL_Delay(10);
//		HAL_GPIO_WritePin(DISPCLK_GPIO_Port, DISPCLK_Pin, GPIO_PIN_SET);
//		HAL_Delay(10);

	} else if (display == 2) {
		// HAL_GPIO_WritePin(CE1_GPIO_Port, CE1_Pin, GPIO_PIN_SET);
		HAL_GPIO_WritePin(CE2_GPIO_Port, CE2_Pin, GPIO_PIN_RESET);
		// HAL_GPIO_WritePin(CE3_GPIO_Port, CE3_Pin, GPIO_PIN_SET);
		// HAL_GPIO_WritePin(CE4_GPIO_Port, CE4_Pin, GPIO_PIN_SET);

		HAL_GPIO_WritePin(DISPCLK_GPIO_Port, DISPCLK_Pin, GPIO_PIN_RESET);
		HAL_Delay(10);
		HAL_GPIO_WritePin(DISPCLK_GPIO_Port, DISPCLK_Pin, GPIO_PIN_SET);
		HAL_Delay(10);

		HAL_GPIO_WritePin(CE2_GPIO_Port, CE2_Pin, GPIO_PIN_SET);

//		BCD_apagarDisplay();
//
//		HAL_GPIO_WritePin(DISPCLK_GPIO_Port, DISPCLK_Pin, GPIO_PIN_RESET);
//		HAL_Delay(10);
//		HAL_GPIO_WritePin(DISPCLK_GPIO_Port, DISPCLK_Pin, GPIO_PIN_SET);
//		HAL_Delay(10);

	} else if (display == 3) {
		// HAL_GPIO_WritePin(CE1_GPIO_Port, CE1_Pin, GPIO_PIN_SET);
		// HAL_GPIO_WritePin(CE2_GPIO_Port, CE2_Pin, GPIO_PIN_SET);
		HAL_GPIO_WritePin(CE3_GPIO_Port, CE3_Pin, GPIO_PIN_RESET);
		// HAL_GPIO_WritePin(CE4_GPIO_Port, CE4_Pin, GPIO_PIN_SET);

		HAL_GPIO_WritePin(DISPCLK_GPIO_Port, DISPCLK_Pin, GPIO_PIN_RESET);
		HAL_Delay(10);
		HAL_GPIO_WritePin(DISPCLK_GPIO_Port, DISPCLK_Pin, GPIO_PIN_SET);
		HAL_Delay(10);

		HAL_GPIO_WritePin(CE3_GPIO_Port, CE3_Pin, GPIO_PIN_SET);

//		BCD_apagarDisplay();
//
//		HAL_GPIO_WritePin(DISPCLK_GPIO_Port, DISPCLK_Pin, GPIO_PIN_RESET);
//		HAL_Delay(10);
//		HAL_GPIO_WritePin(DISPCLK_GPIO_Port, DISPCLK_Pin, GPIO_PIN_SET);
//		HAL_Delay(10);

	} else if (display == 4) {
		// HAL_GPIO_WritePin(CE1_GPIO_Port, CE1_Pin, GPIO_PIN_SET);
		// HAL_GPIO_WritePin(CE2_GPIO_Port, CE2_Pin, GPIO_PIN_SET);
		// HAL_GPIO_WritePin(CE3_GPIO_Port, CE3_Pin, GPIO_PIN_SET);
		HAL_GPIO_WritePin(CE4_GPIO_Port, CE4_Pin, GPIO_PIN_RESET);

		HAL_GPIO_WritePin(DISPCLK_GPIO_Port, DISPCLK_Pin, GPIO_PIN_RESET);
		HAL_Delay(10);
		HAL_GPIO_WritePin(DISPCLK_GPIO_Port, DISPCLK_Pin, GPIO_PIN_SET);
		HAL_Delay(10);

		HAL_GPIO_WritePin(CE4_GPIO_Port, CE4_Pin, GPIO_PIN_SET);

//		BCD_apagarDisplay();
//
//		HAL_GPIO_WritePin(DISPCLK_GPIO_Port, DISPCLK_Pin, GPIO_PIN_RESET);
//		HAL_Delay(10);
//		HAL_GPIO_WritePin(DISPCLK_GPIO_Port, DISPCLK_Pin, GPIO_PIN_SET);
//		HAL_Delay(10);

	}
}

/* USER CODE END 0 */

int main(void)
{
  /* USER CODE BEGIN 1 */

	BCD_inicializarCEx();
	BCD_apagarDisplay();
	Matrix_inicializarFilas();

  /* USER CODE END 1 */

  /* MCU Configuration--------------------------------------------------------*/

  /* Reset of all peripherals, Initializes the Flash interface and the Systick. */
  HAL_Init();

  /* Configure the system clock */
  SystemClock_Config();

  /* Initialize all configured peripherals */
  MX_GPIO_Init();
  MX_USART2_UART_Init();

  /* Infinite loop */
  while (1)
  {

    /* USER CODE BEGIN 3 */

	  char tecla;
	  int seleccionado = 0;   // Indica si se ha seleccionado producto
	  int introducido = 0;    // Indica si se ha introducido el dinero
	  int parte_entera;   // Parte entera del dinero
	  int parte_decimal;  // Parte decimal del dinero
	  double dinero;
	  double precio;
	  int producto;
	  double prueba = (double)1 + (double)2;
	  double prueba2 = prueba / 2;

	  int fin = 0;   ////////////////////////////////////////////////
	  int signo = 0;
	  double devuelta;

	  BCD_enviarLetra('H', 4);
	  BCD_enviarLetra('O', 3);
	  BCD_enviarLetra('L', 2);
	  BCD_enviarLetra('A', 1);

	  HAL_Delay(2000);

	  /* MOSTRAMOS PRODUCTOS */

	  do {

		  /* Primer producto: ZUMO */
		  BCD_enviarLetra('Z', 4);
		  BCD_enviarLetra('U', 3);
		  BCD_enviarLetra('M', 2);
		  BCD_enviarLetra('O', 1);

		  tecla = Matrix_leerTecla();

		  if (tecla == 'B') {
			  seleccionado = 1;
			  producto = 1;
			  break;
		  } else if (tecla == 'A') {
			/* Seguundoo producto: té */
			BCD_enviarLetra('T', 4);
			BCD_enviarLetra('E', 3);
			BCD_enviarLetra('0', 2);
			BCD_enviarLetra('0', 1);
		  }

		  tecla = Matrix_leerTecla();

		  if (tecla == 'B') {
			  seleccionado = 1;
			  producto = 2;
			  break;
		  } else if (tecla == 'A') {
			/* Tercer producto: COLA */
			BCD_enviarLetra('C', 4);
			BCD_enviarLetra('O', 3);
			BCD_enviarLetra('L', 2);
			BCD_enviarLetra('A', 1);
		  }

		  tecla = Matrix_leerTecla();

		  if (tecla == 'B') {
			  seleccionado = 1;
			  producto = 3;
			  break;
		  }

	  } while (!seleccionado);

	  /* MOSTRAMOS PRECIO SEGÚN PRODUCTO SELECCIONADO */
	  /* HACER FUNCIÓN PARA MOSTRAR PERCIO A PARTIR DE SU VARIABLE */
	  if (producto == 1) {
		  /* 0,95 */
		  BCD_enviarDigito(0, 4, 0, 0);
		  BCD_enviarDigito(0, 3, 1, 0);
		  BCD_enviarDigito(9, 2, 0, 0);
		  BCD_enviarDigito(5, 1, 0, 0);

		  devuelta = 0.95;   ////////////////////////////////////////////////////////
	  } else if (producto == 2) {
		  /* 0,80 */
		  BCD_enviarDigito(0, 4, 0, 0);
		  BCD_enviarDigito(0, 3, 1, 0);
		  BCD_enviarDigito(8, 2, 0, 0);
		  BCD_enviarDigito(0, 1, 0, 0);

		  devuelta = 0.80;   ////////////////////////////////////////////////////////
	  } else if (producto == 3) {
		  /* 1,20 */
		  BCD_enviarDigito(0, 4, 0, 0);
		  BCD_enviarDigito(1, 3, 1, 0);
		  BCD_enviarDigito(2, 2, 0, 0);
		  BCD_enviarDigito(0, 1, 0, 0);

		  devuelta = 1.20;   ////////////////////////////////////////////////////////
	  }

	  HAL_Delay(1000);

	  /* ESPERAMOS A INTRODUCIR EL DINERO */
	  do {
		  while (!introducido) {
			  int digitos = 0;   // Nº de dígitos a introducir por el usuario (deben ser 4)

			  tecla = Matrix_leerTecla();
			  parte_entera = char_to_int(tecla) * 10;

			  /* Comprobamos que se ha pulsado un número */
			  if (tecla >= '0' || tecla <= '9') {
				  ++digitos;
			  }

			  HAL_Delay(500);

			  tecla = Matrix_leerTecla();
			  parte_entera += char_to_int(tecla);

			  /* Comprobamos que se ha pulsado un número */
			  if (tecla >= '0' || tecla <= '9') {
				  ++digitos;
			  }

			  HAL_Delay(500);

			  tecla = Matrix_leerTecla();
			  parte_decimal = char_to_int(tecla) * 10;

			  /* Comprobamos que se ha pulsado un número */
			  if (tecla >= '0' || tecla <= '9') {
				  ++digitos;
			  }

			  HAL_Delay(500);

			  tecla = Matrix_leerTecla();
			  parte_decimal += char_to_int(tecla);

			  /* Comprobamos que se ha pulsado un número */
			  if (tecla >= '0' || tecla <= '9') {
				  ++digitos;
			  }

			  HAL_Delay(500);

			  if (digitos == 4) {
				  introducido = 1;
			  }
		  }

		  // Pruebo a mostrar dinero introducido
		  BCD_enviarDigito(parte_entera / 10, 4, 0, 0);
		  BCD_enviarDigito(parte_entera % 10, 3, 1, 0);
		  BCD_enviarDigito(parte_decimal / 10, 2, 0, 0);
		  BCD_enviarDigito(parte_decimal % 10, 1, 0, 0);

		  HAL_Delay(2000);

		  /* Obtenemos el dinero introducido para calcular la devuelta */
		  dinero = (double)parte_entera * 100 + (double)parte_decimal;
		  dinero = dinero / 100;

		  /* MOSTRAMOS DINERO QUE FALTA O DEVUELTA */

		  if (producto == 1) {   // ZUMO
			  devuelta = devuelta - dinero;
		  } else if (producto == 2) {   // TE
			  devuelta = devuelta - dinero;
		  } else if (producto == 3) {   // COLA
			  devuelta = devuelta - dinero;
		  }

		  if (devuelta <= 0) {
			  devuelta *= (-1);   // Quitamos signo
			  signo = 1;
			  fin = 1;
		  } else {
			  introducido = 0;   // Tenemos que volver a introducir el dinero que falta
		  }

		  parte_entera = devuelta;
		  parte_decimal = (devuelta * 100);
		  parte_decimal = parte_decimal % 100;

		  BCD_enviarDigito(parte_entera / 10, 4, 0, signo);
		  BCD_enviarDigito(parte_entera % 10, 3, 1, signo);
		  BCD_enviarDigito(parte_decimal / 10, 2, 0, signo);
		  BCD_enviarDigito(parte_decimal % 10, 1, 0, signo);

	  } while (!fin);

	  HAL_Delay(5000);

	  HAL_GPIO_WritePin(SIGNO_GPIO_Port, SIGNO_Pin, GPIO_PIN_RESET);

	  HAL_GPIO_WritePin(DISPCLK_GPIO_Port, DISPCLK_Pin, GPIO_PIN_RESET);
	  HAL_Delay(10);
	  HAL_GPIO_WritePin(DISPCLK_GPIO_Port, DISPCLK_Pin, GPIO_PIN_SET);
	  HAL_Delay(10);

  }
  /* USER CODE END 3 */
}

void SystemClock_Config(void)
{
  RCC_OscInitTypeDef RCC_OscInitStruct = {0};
  RCC_ClkInitTypeDef RCC_ClkInitStruct = {0};

  /** Configure the main internal regulator output voltage
  */
  if (HAL_PWREx_ControlVoltageScaling(PWR_REGULATOR_VOLTAGE_SCALE1) != HAL_OK)
  {
    Error_Handler();
  }

  /** Initializes the RCC Oscillators according to the specified parameters
  * in the RCC_OscInitTypeDef structure.
  */
  RCC_OscInitStruct.OscillatorType = RCC_OSCILLATORTYPE_HSI;
  RCC_OscInitStruct.HSIState = RCC_HSI_ON;
  RCC_OscInitStruct.HSICalibrationValue = RCC_HSICALIBRATION_DEFAULT;
  RCC_OscInitStruct.PLL.PLLState = RCC_PLL_ON;
  RCC_OscInitStruct.PLL.PLLSource = RCC_PLLSOURCE_HSI;
  RCC_OscInitStruct.PLL.PLLM = 1;
  RCC_OscInitStruct.PLL.PLLN = 10;
  RCC_OscInitStruct.PLL.PLLP = RCC_PLLP_DIV7;
  RCC_OscInitStruct.PLL.PLLQ = RCC_PLLQ_DIV2;
  RCC_OscInitStruct.PLL.PLLR = RCC_PLLR_DIV2;
  if (HAL_RCC_OscConfig(&RCC_OscInitStruct) != HAL_OK)
  {
    Error_Handler();
  }

  /** Initializes the CPU, AHB and APB buses clocks
  */
  RCC_ClkInitStruct.ClockType = RCC_CLOCKTYPE_HCLK|RCC_CLOCKTYPE_SYSCLK
                              |RCC_CLOCKTYPE_PCLK1|RCC_CLOCKTYPE_PCLK2;
  RCC_ClkInitStruct.SYSCLKSource = RCC_SYSCLKSOURCE_PLLCLK;
  RCC_ClkInitStruct.AHBCLKDivider = RCC_SYSCLK_DIV1;
  RCC_ClkInitStruct.APB1CLKDivider = RCC_HCLK_DIV1;
  RCC_ClkInitStruct.APB2CLKDivider = RCC_HCLK_DIV1;

  if (HAL_RCC_ClockConfig(&RCC_ClkInitStruct, FLASH_LATENCY_4) != HAL_OK)
  {
    Error_Handler();
  }
}

static void MX_USART2_UART_Init(void)
{

  huart2.Instance = USART2;
  huart2.Init.BaudRate = 115200;
  huart2.Init.WordLength = UART_WORDLENGTH_8B;
  huart2.Init.StopBits = UART_STOPBITS_1;
  huart2.Init.Parity = UART_PARITY_NONE;
  huart2.Init.Mode = UART_MODE_TX_RX;
  huart2.Init.HwFlowCtl = UART_HWCONTROL_NONE;
  huart2.Init.OverSampling = UART_OVERSAMPLING_16;
  huart2.Init.OneBitSampling = UART_ONE_BIT_SAMPLE_DISABLE;
  huart2.AdvancedInit.AdvFeatureInit = UART_ADVFEATURE_NO_INIT;
  if (HAL_UART_Init(&huart2) != HAL_OK)
  {
    Error_Handler();
  }

}

static void MX_GPIO_Init(void)
{
  GPIO_InitTypeDef GPIO_InitStruct = {0};

  /* GPIO Ports Clock Enable */
  __HAL_RCC_GPIOC_CLK_ENABLE();
  __HAL_RCC_GPIOH_CLK_ENABLE();
  __HAL_RCC_GPIOA_CLK_ENABLE();
  __HAL_RCC_GPIOB_CLK_ENABLE();

  /*Configure GPIO pin Output Level */
  HAL_GPIO_WritePin(GPIOC, DISP5_Pin|DISP4_Pin|FILA3_Pin|FILA2_Pin
                          |CE4_Pin, GPIO_PIN_RESET);

  /*Configure GPIO pin Output Level */
  HAL_GPIO_WritePin(GPIOA, DISP0_Pin|DISP1_Pin|DISP2_Pin|LD2_Pin
                          |SIGNO_Pin|CE2_Pin|CE3_Pin|FILA4_Pin, GPIO_PIN_RESET);

  /*Configure GPIO pin Output Level */
  HAL_GPIO_WritePin(GPIOB, DISP3_Pin|CE1_Pin|DISP7_Pin|DISP6_Pin
                          |DISPCLK_Pin, GPIO_PIN_RESET);

  /*Configure GPIO pin : B1_Pin */
  GPIO_InitStruct.Pin = B1_Pin;
  GPIO_InitStruct.Mode = GPIO_MODE_IT_FALLING;
  GPIO_InitStruct.Pull = GPIO_NOPULL;
  HAL_GPIO_Init(B1_GPIO_Port, &GPIO_InitStruct);

  /*Configure GPIO pins : DISP5_Pin DISP4_Pin FILA3_Pin FILA2_Pin
                           CE4_Pin */
  GPIO_InitStruct.Pin = DISP5_Pin|DISP4_Pin|FILA3_Pin|FILA2_Pin
                          |CE4_Pin;
  GPIO_InitStruct.Mode = GPIO_MODE_OUTPUT_PP;
  GPIO_InitStruct.Pull = GPIO_NOPULL;
  GPIO_InitStruct.Speed = GPIO_SPEED_FREQ_LOW;
  HAL_GPIO_Init(GPIOC, &GPIO_InitStruct);

  /*Configure GPIO pins : DISP0_Pin DISP1_Pin DISP2_Pin LD2_Pin
                           SIGNO_Pin CE2_Pin CE3_Pin FILA4_Pin */
  GPIO_InitStruct.Pin = DISP0_Pin|DISP1_Pin|DISP2_Pin|LD2_Pin
                          |SIGNO_Pin|CE2_Pin|CE3_Pin|FILA4_Pin;
  GPIO_InitStruct.Mode = GPIO_MODE_OUTPUT_PP;
  GPIO_InitStruct.Pull = GPIO_NOPULL;
  GPIO_InitStruct.Speed = GPIO_SPEED_FREQ_LOW;
  HAL_GPIO_Init(GPIOA, &GPIO_InitStruct);

  /*Configure GPIO pins : DISP3_Pin CE1_Pin DISP7_Pin DISP6_Pin
                           DISPCLK_Pin */
  GPIO_InitStruct.Pin = DISP3_Pin|CE1_Pin|DISP7_Pin|DISP6_Pin
                          |DISPCLK_Pin;
  GPIO_InitStruct.Mode = GPIO_MODE_OUTPUT_PP;
  GPIO_InitStruct.Pull = GPIO_NOPULL;
  GPIO_InitStruct.Speed = GPIO_SPEED_FREQ_LOW;
  HAL_GPIO_Init(GPIOB, &GPIO_InitStruct);

  /*Configure GPIO pins : COL3_Pin COL2_Pin */
  GPIO_InitStruct.Pin = COL3_Pin|COL2_Pin;
  GPIO_InitStruct.Mode = GPIO_MODE_INPUT;
  GPIO_InitStruct.Pull = GPIO_NOPULL;
  HAL_GPIO_Init(GPIOB, &GPIO_InitStruct);

  /*Configure GPIO pin : COL4_Pin */
  GPIO_InitStruct.Pin = COL4_Pin;
  GPIO_InitStruct.Mode = GPIO_MODE_INPUT;
  GPIO_InitStruct.Pull = GPIO_NOPULL;
  HAL_GPIO_Init(COL4_GPIO_Port, &GPIO_InitStruct);

  /*Configure GPIO pin : COL1_Pin */
  GPIO_InitStruct.Pin = COL1_Pin;
  GPIO_InitStruct.Mode = GPIO_MODE_INPUT;
  GPIO_InitStruct.Pull = GPIO_NOPULL;
  HAL_GPIO_Init(COL1_GPIO_Port, &GPIO_InitStruct);

}

void Error_Handler(void)
{
  __disable_irq();
  while (1)
  {
  }
}
